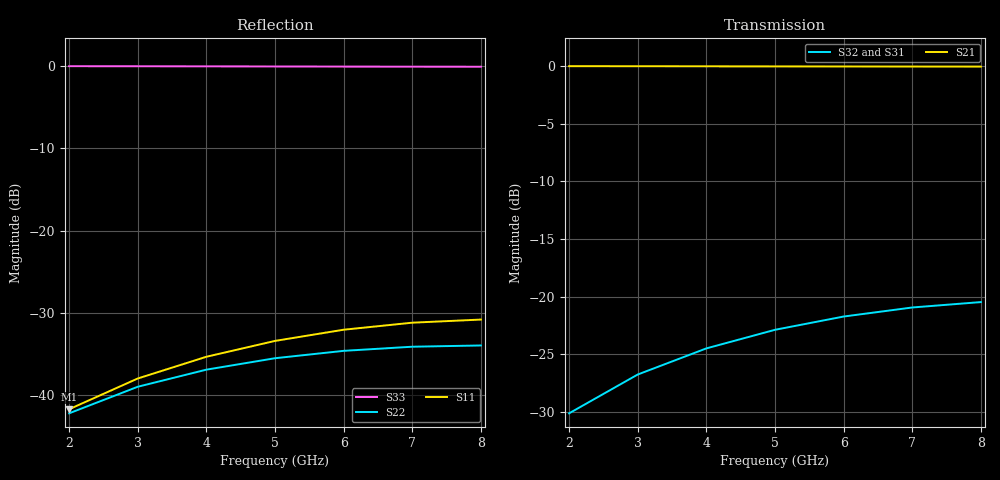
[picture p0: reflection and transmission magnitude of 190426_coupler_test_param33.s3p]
! Sonnet Data File
! From: emgraph Version : 16.56
! From Project: 190426_coupler_test
! Data is De-embedded
! Data File Written: 05/06/2019 15:59:44
!< HDATE 04/25/2019 10:48:44
!< MDATE 04/25/2019 10:59:35
!< PARAMS
!< tandelta = 0.0
!< t_aSi = 0.25
!< W = 10.0
!< Lcoupler = 3200.0
!< END PARAMS
# GHZ S MA R 50.0 !  non standard terminations in data
! TERM 50.00000 0.000000 50.00000 0.000000 63.84000 0.000000
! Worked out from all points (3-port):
!   7 points, 2 GHz to 8 GHz, reference 50 ohm
!   strongest paths, dB at 2 GHz, 3 GHz, 5 GHz, 7 GHz, 8 GHz:
!     S21: 0.0, 0.0, 0.0, 0.0, 0.0
!     S32: -30.1, -26.8, -22.9, -20.9, -20.5
!     S31: -30.1, -26.8, -23.0, -21.1, -20.7
!   lowest |S11| = -41.7 dB at 2 GHz (marker M1), VSWR 1.02, Z = 50.2 + j0.792 ohm
!   |S11| at or under -10 dB: start of sweep to end of sweep
2  0.00822 73.5  0.9995 -21.7  0.03108 44.1
   0.9995 -21.7  0.007764 69.2  0.0312 69.9
   0.03108 44.1  0.0312 69.9  0.999 -44.6
3  0.01264 63.6  0.9989 -32.6  0.04561 21.1
   0.9989 -32.6  0.01126 58.8  0.04597 59.7
   0.04561 21.1  0.04597 59.7  0.9979 -67.1
4  0.01713 52.3  0.9981 -43.5  0.05891 -2.0
   0.9981 -43.5  0.0143 48.5  0.05966 49.4
   0.05891 -2.0  0.05966 49.4  0.9965 -89.7
5  0.02138 39.7  0.9973 -54.3  0.0706 -25.0
   0.9973 -54.3  0.01678 38.2  0.07183 38.8
   0.0706 -25.0  0.07183 38.8  0.9949 -112.4
6  0.025 26.2  0.9965 -65.1  0.08029 -48.1
   0.9965 -65.1  0.01861 28.0  0.08201 28.2
   0.08029 -48.1  0.08201 28.2  0.9934 -135.2
7  0.02759 11.8  0.9958 -75.9  0.08767 -71.3
   0.9958 -75.9  0.01971 17.9  0.08977 17.3
   0.08767 -71.3  0.08977 17.3  0.9921 -158.1
8  0.02883 -3.1  0.9953 -86.7  0.09246 -94.4
   0.9953 -86.7  0.02006 7.8  0.09475 6.4
   0.09246 -94.4  0.09475 6.4  0.9912 178.9
